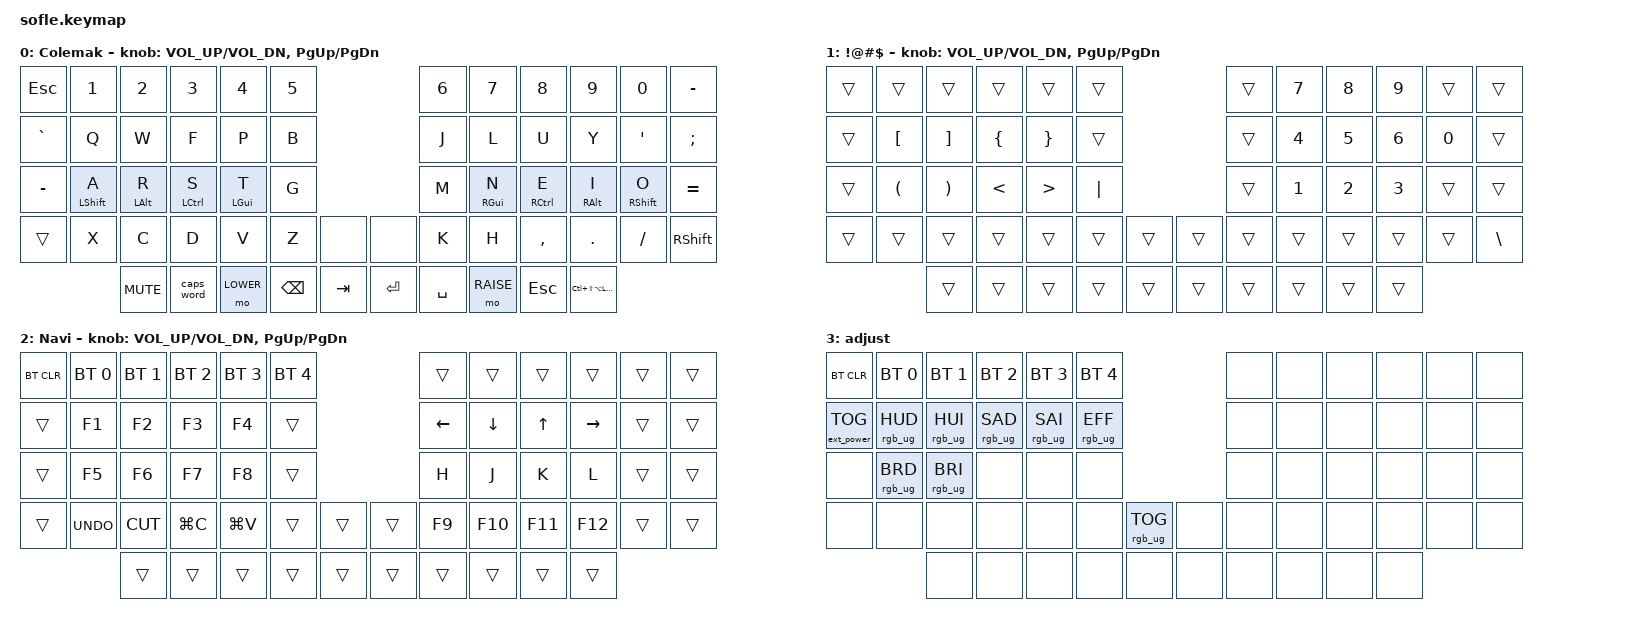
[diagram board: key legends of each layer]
/*
 * Copyright (c) 2020 The ZMK Contributors
 *
 * SPDX-License-Identifier: MIT
 */

#include <behaviors.dtsi>
#include <dt-bindings/zmk/bt.h>
#include <dt-bindings/zmk/ext_power.h>
#include <dt-bindings/zmk/keys.h>
#include <dt-bindings/zmk/rgb.h>

#define BASE 0
#define LOWER 1
#define RAISE 2
#define ADJUST 3

// Hyper key (Ctrl+Shift+Alt+Gui) - useful for Aerospace
#define HYPER LC(LS(LA(LGUI)))

/ {
    // Activate ADJUST layer by pressing raise and lower

    conditional_layers {
        compatible = "zmk,conditional-layers";

        adjust_layer {
            if-layers = <LOWER RAISE>;
            then-layer = <ADJUST>;
        };
    };

    combos {
        compatible = "zmk,combos";

        // JK combo for ESC - great for Vim (N and E on Colemak = J and K positions)
        combo_esc {
            timeout-ms = <50>;
            require-prior-idle-ms = <150>;
            key-positions = <31 32>; // N and E keys on right home row
            bindings = <&kp ESC>;
        };
    };

    behaviors {
      hm: homerow_mods {
        compatible = "zmk,behavior-hold-tap";
        label = "homerow_mods";
        flavor = "tap-preferred";
        #binding-cells = <2>;
        quick-tap-ms = <50>;
        tapping-term-ms = <200>;
        global-quick-tap;
        bindings = <&kp>, <&kp>;
      };

      // Caps word - tap to activate, types in CAPS until space/punctuation
      caps_word: caps_word {
        compatible = "zmk,behavior-caps-word";
        #binding-cells = <0>;
        continue-list = <UNDERSCORE MINUS BACKSPACE DELETE>;
      };
    };

    keymap {
        compatible = "zmk,keymap";

        default_layer {
            label = "default";
            display-name = "Colemak";

            // ------------------------------------------------------------------------------------------------------------
            // |   `   |  1  |  2  |  3   |  4   |  5   |                   |  6   |  7    |  8    |  9   |   0   |   -   |
            // |  ESC  |  Q  |  W  |  E   |  R   |  T   |                   |  Y   |  U    |  I    |  O   |   P   | BKSPC |
            // |  TAB  |  A  |  S  |  D   |  F   |  G   |                   |  H   |  J    |  K    |  L   |   ;   | ENTER |
            // | SHIFT |  Z  |  X  |  C   |  V   |  B   |  MUTE  |  |       |  N   |  M    |  ,    |  .   |   /   | SHIFT |
            //               | GUI | ALT  | LOWER | CTRL |  ALT |  | SPACE | CTRL | RAISE  | ALT   | GUI  |

            bindings = <
                &kp ESC    &kp N1         &kp N2       &kp N3       &kp N4     &kp N5                               &kp N6     &kp N7       &kp N8        &kp N9      &kp N0    &kp MINUS
                &kp GRAVE  &kp Q          &kp W        &kp F        &kp P      &kp B                                &kp J      &kp L        &kp U         &kp Y       &kp SQT      &kp SEMI
                &kp MINUS  &hm LSHIFT A   &hm LALT R   &hm LCTRL S  &hm LGUI T &kp G                                &kp M      &hm RGUI N   &hm RCTRL E   &hm RALT I  &hm RSHIFT O  &kp EQUAL
                &trans     &kp X          &kp C        &kp D        &kp V      &kp Z      &none          &none      &kp K      &kp H        &kp COMMA     &kp DOT     &kp FSLH  &kp RSHIFT
                                          &kp C_MUTE   &caps_word   &mo LOWER  &kp BSPC   &kp TAB        &kp RET    &kp SPACE  &mo RAISE    &kp ESC       &kp HYPER 
            >;

            sensor-bindings = <&inc_dec_kp C_VOL_UP C_VOL_DN &inc_dec_kp PG_UP PG_DN>;
        };

        lower_layer {
            label = "lower";
            display-name = "!@#$";

            // TODO: Some binds are waiting for shifted keycode support.
            // ------------------------------------------------------------------------------------------------------------
            // |   `   |     |     |      |      |      |                   |      |   7   |   8   |   9  |       |       |
            // |       |     |     |      |      |      |                   |      |   4   |   5   |   6  |   0   |   =   |
            // |       |     |     |      |      |      |                   |      |   1   |   2   |   3  |       |   '   |
            // |       |     |     |      |  {   |  }   |        |  |       |  [   |  ]    |   (   |   )  |       |   |   |
            //               |     |      |      |      |        |  |       |      |       |       |      |

            bindings = <
                  &trans      &trans     &trans     &trans       &trans    &trans                       &trans     &kp N7    &kp N8        &kp N9   &trans    &trans
                  &trans      &kp LBKT   &kp RBKT   &kp LBRC     &kp RBRC  &trans                       &trans     &kp N4    &kp N5        &kp N6   &kp N0    &trans
                  &trans      &kp LPAR   &kp RPAR   &kp LT       &kp GT    &kp PIPE                     &trans     &kp N1    &kp N2        &kp N3   &trans    &trans
                  &trans      &trans     &trans     &trans       &trans    &trans     &trans    &trans  &trans     &trans    &trans        &trans   &trans    &kp BSLH
                                        &trans     &trans       &trans    &trans     &trans    &trans  &trans     &trans    &trans        &trans
            >;

            sensor-bindings = <&inc_dec_kp C_VOL_UP C_VOL_DN &inc_dec_kp PG_UP PG_DN>;
        };

        raise_layer {
            label = "raise";
            display-name = "Navi";

            // ------------------------------------------------------------------------------------------------------------
            // | BTCLR | BT1  | BT2  |  BT3  |  BT4  |  BT5 |                |      |      |       |      |       |       |
            // |       | INS  | PSCR | GUI   |       |      |                | PGUP |      |   ^   |      |       |       |
            // |       | ALT  | CTRL | SHIFT |       | CAPS |                | PGDN |   <- |   v   |  ->  |  DEL  | BKSPC |
            // |       | UNDO | CUT  | COPY  | PASTE |      |      |  |      |      |      |       |      |       |       |
            //                |      |       |       |      |      |  |      |      |      |       |      |

            bindings = <
                &bt BT_CLR  &bt BT_SEL 0  &bt BT_SEL 1  &bt BT_SEL 2  &bt BT_SEL 3  &bt BT_SEL 4                    &trans     &trans    &trans    &trans     &trans   &trans
                &trans      &kp F1        &kp F2        &kp F3        &kp F4        &trans                          &kp LEFT   &kp DOWN  &kp UP    &kp RIGHT  &trans   &trans
                &trans      &kp F5        &kp F6        &kp F7        &kp F8        &trans                          &kp H      &kp J     &kp K     &kp L      &trans   &trans
                &trans      &kp K_UNDO    &kp K_CUT     &kp LG(C)     &kp LG(V)     &trans        &trans    &trans  &kp F9     &kp F10   &kp F11   &kp F12    &trans   &trans
                            &trans        &trans        &trans        &trans        &trans    &trans  &trans     &trans    &trans    &trans
            >;

            sensor-bindings = <&inc_dec_kp C_VOL_UP C_VOL_DN &inc_dec_kp PG_UP PG_DN>;
        };

        adjust_layer {
            // ----------------------------------------------------------------------------------------------------------------------------
            // | BTCLR  |  BT1    |  BT2    |   BT3   |   BT4   |   BT5   |                  |      |      |       |      |       |       |
            // | EXTPWR | RGB_HUD | RGB_HUI | RGB_SAD | RGB_SAI | RGB_EFF |                  |      |      |       |      |       |       |
            // |        | RGB_BRD | RGB_BRI |         |         |         |                  |      |      |       |      |       |       |
            // |        |         |         |         |         |         | RGB_TOG | |      |      |      |       |      |       |       |
            //                    |         |         |         |         |         | |      |      |      |       |      |

            label = "adjust";
            bindings = <
                  &bt BT_CLR         &bt BT_SEL 0     &bt BT_SEL 1     &bt BT_SEL 2     &bt BT_SEL 3     &bt BT_SEL 4                               &none  &none  &none  &none  &none  &none
                  &ext_power EP_TOG  &rgb_ug RGB_HUD  &rgb_ug RGB_HUI  &rgb_ug RGB_SAD  &rgb_ug RGB_SAI  &rgb_ug RGB_EFF                            &none  &none  &none  &none  &none  &none
                  &none              &rgb_ug RGB_BRD  &rgb_ug RGB_BRI  &none            &none            &none                                      &none  &none  &none  &none  &none  &none
                  &none              &none            &none            &none            &none            &none            &rgb_ug RGB_TOG    &none  &none  &none  &none  &none  &none  &none
                                                      &none            &none            &none            &none            &none              &none  &none  &none  &none  &none
            >;
        };
    };
};
